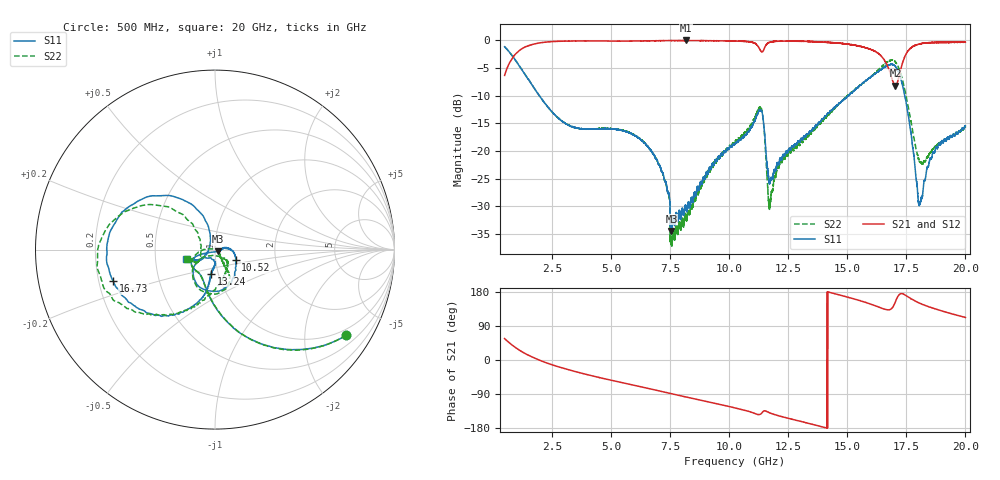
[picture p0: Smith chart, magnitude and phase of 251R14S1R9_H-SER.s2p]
!{251R14S1R9}
!Johanson Technology Inc.
!www.johansontechnology.com
!Test Board Conditions:
!Substrate Type  RO4350B
!Substrate Thickness  20 mil
!Substrate Dk  3.66
!TL Type: GCPW
!TL Trace Width  36 mil
!TL Gap  12 mil
!Electrode orientation  Horizontal
!DUT TOPOLOGY	SERIES
!Mounting Pad LxW  26x36 mil
! Created Wed Mar 11 15:47:03 2020
# mhz S ma R 50
! 2 Port Network Data from SP1.SP block
! freq  magS11  angS11  magS21  angS21  magS12  angS12  magS22  angS22
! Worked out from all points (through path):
!   19501 points, 500 MHz to 20 GHz, reference 50 ohm
!   highest |S21| = -0.05 dB at 8.189 GHz (marker M1); lowest = -8.2 dB at 17.04 GHz (marker M2)
!   group delay of S21, straight-line fit = 38.2 ps
!   lowest |S11| = -34.4 dB at 7.561 GHz (marker M3), VSWR 1.04, Z = 51.6 - j1.03 ohm
!   |S11| at or under -10 dB: 1.968 GHz to 15.05 GHz (13.08 GHz wide, 154 % of centre); 15.05862 GHz to 15.0594 GHz (781 kHz wide, 0.00519 % of centre); 17.43 GHz to end of sweep (the widest 3 of 4)
!   |S22| runs from -37.2 to -1.2 dB; largest |S21 - S12| = 0.018
!   S11 on the Smith chart (normalised r, x): 500 MHz: 0.79, -3.18; 10.52 GHz: 1.25, -0.15; 13.24 GHz: 0.92, -0.25; 16.73 GHz: 0.26, -0.14; 20 GHz: 0.72, -0.08
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500  0.8733 -33.1  0.4812 56.4  0.4829 56.6  0.873 -33.2
1737  0.3733 -84.0  0.923 6.0  0.9229 5.9  0.3739 -83.6
3750  0.1595 -124.2  0.9847 -34.8  0.9856 -34.7  0.159 -124.9
7000  0.07744 -161.0  0.989 -80.9  0.99 -81.0  0.07754 -174.9
7403  0.04282 -158.0  0.9913 -86.7  0.9911 -86.7  0.04235 173.8
7561  0.01899 -31.6  0.9932 -88.9  0.993 -88.9  0.01497 13.5
8189  0.03028 -3.3  0.9947 -97.7  0.9909 -97.7  0.02354 -26.0
10250  0.1154 -16.3  0.9836 -126.3  0.983 -126.2  0.1218 -60.9
10522  0.1288 -26.5  0.9781 -130.3  0.9795 -130.3  0.138 -60.0
11343  0.2321 -99.9  0.8016 -142.2  0.8012 -142.2  0.2444 -102.9
11740  0.0529 -113.5  0.9616 -139.9  0.9601 -139.9  0.03398 -83.7
12222  0.08325 -89.8  0.9798 -149.3  0.9816 -149.2  0.0782 -42.7
13242  0.1361 -99.4  0.9759 -165.4  0.9771 -165.4  0.1281 -60.5
13500  0.1536 -100.1  0.9733 -169.4  0.9732 -169.5  0.1462 -68.4
15422  0.3717 -115.1  0.8903 158.9  0.8977 158.6  0.374 -114.8
16726  0.5933 -162.9  0.5714 132.4  0.5603 132.4  0.6451 -158.5
16750  0.598 -164.8  0.5564 132.4  0.5428 132.3  0.6523 -159.9
17039  0.5787 166.2  0.3886 153.7  0.3838 154.2  0.6366 174.5
17544  0.2341 113.0  0.7854 168.0  0.7851 168.4  0.2736 133.1
18079  0.03469 161.9  0.9258 149.4  0.9279 149.5  0.07928 166.7
18689  0.09591 -146.0  0.9521 135.6  0.9491 135.8  0.1072 -146.0
20000  0.1676 -161.7  0.9577 112.1  0.9563 112.5  0.1636 -161.8
